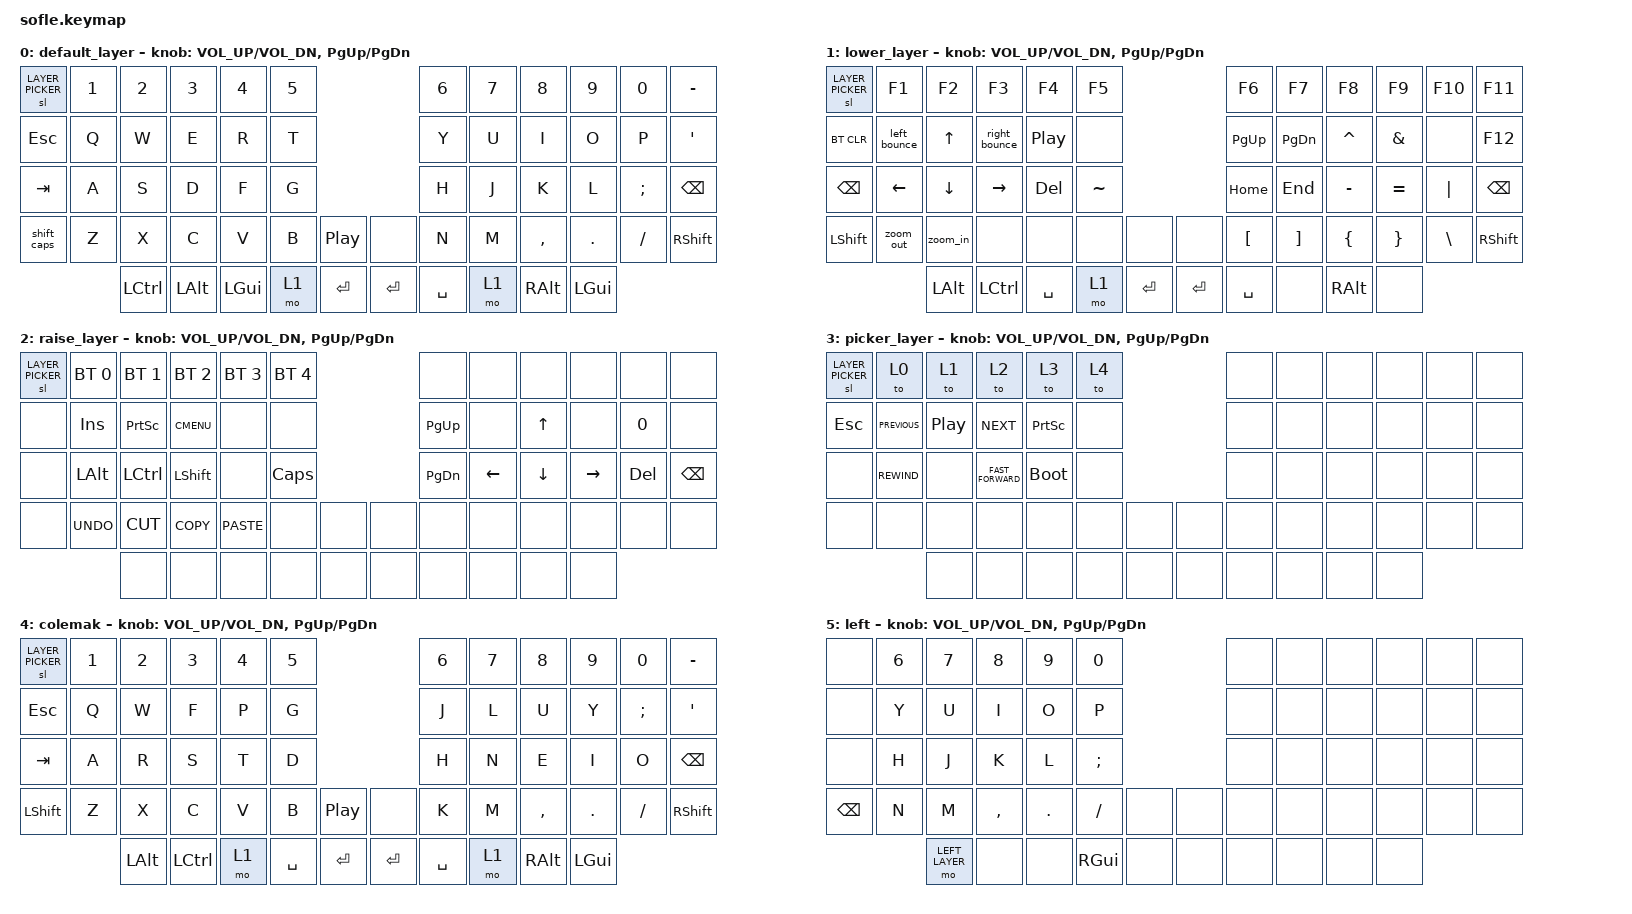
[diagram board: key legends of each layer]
/*
 * Copyright (c) 2020 The ZMK Contributors
 *
 * SPDX-License-Identifier: MIT
 */

#include <behaviors.dtsi>
#include <dt-bindings/zmk/keys.h>
#include <dt-bindings/zmk/bt.h>
#include <dt-bindings/zmk/rgb.h>

#define DEFAULT 0
#define LAYER_PICKER 3
#define LEFT_LAYER 5

/ {
    macros {
            left_bounce: left_bounce {
                label = "ZM_left_bounce";
                wait-ms = <0>;
                #binding-cells = <0>;
                compatible = "zmk,behavior-macro";
                bindings
                    = <&macro_press &kp LALT &kp LEFT>
                    , <&macro_pause_for_release>
                    , <&macro_release &kp LEFT &kp LALT>
                    ;
            };
            right_bounce: right_bounce {
                label = "ZM_right_bounce";
                wait-ms = <0>;
                #binding-cells = <0>;
                compatible = "zmk,behavior-macro";
                bindings
                    = <&macro_press &kp LALT &kp RIGHT>
                    , <&macro_pause_for_release>
                    , <&macro_release &kp RIGHT &kp LALT>
                    ;
            };
            zoom_out: zoom_out {
                label = "ZM_zoom_out";
                wait-ms = <0>;
                #binding-cells = <0>;
                compatible = "zmk,behavior-macro";
                bindings
                    = <&macro_press &kp LGUI>
                    , <&macro_tap &kp MINUS>
                    , <&macro_release &kp LGUI>
                    ;
            };
            zoom_in: zoom_in {
                label = "ZM_zoom_in";
                wait-ms = <0>;
                #binding-cells = <0>;
                compatible = "zmk,behavior-macro";
                bindings
                    = <&macro_press &kp LGUI>
                    , <&macro_tap &kp EQUAL>
                    , <&macro_release &kp LGUI>
                    ;
            };
    };
    behaviors {
        shift_caps: tap_dance_0 {
            compatible = "zmk,behavior-tap-dance";
            label = "TD_shift_caps";
            #binding-cells = <0>;
            tapping-term-ms = <400>;
            bindings = <&kp LSHIFT>, <&kp CAPSLOCK>;
        };
    };
};




/ {
    keymap {
        compatible = "zmk,keymap";

        default_layer { // Default (0)
// ------------------------------------------------------------------------------------------------------------
// |  `    |  1  |  2  |  3   |  4   |  5   |                   |  6   |  7    |  8    |  9   |   0   |       |
// |  ESC  |  Q  |  W  |  E   |  R   |  T   |                   |  Y   |  U    |  I    |  O   |   P   | BKSPC |
// |  TAB  |  A  |  S  |  D   |  F   |  G   |                   |  H   |  J    |  K    |  L   |   ;   |   '   |
// | SHIFT |  Z  |  X  |  C   |  V   |  B   |  MUTE  |  |       |  N   |  M    |  ,    |  .   |   /   | SHIFT |
//               | GUI | ALT  | CTRL | LOWER|  ENTER |  | SPACE | RAISE| CTRL  | ALT   | GUI  |
            bindings = <
&sl LAYER_PICKER	&kp N1			&kp N2		&kp N3		&kp N4		&kp N5											&kp N6		&kp N7		&kp N8		&kp N9		&kp N0		&kp MINUS
&kp ESC				&kp Q			&kp W		&kp E		&kp R		&kp T											&kp Y		&kp U		&kp I		&kp O		&kp P		&kp SQT
&kp TAB				&kp A			&kp S		&kp D		&kp F		&kp G											&kp H		&kp J		&kp K		&kp L		&kp SEMI	&kp BSPC
&shift_caps			&kp Z			&kp X		&kp C		&kp V		&kp B			&kp C_PLAY_PAUSE	&none		&kp N		&kp M		&kp COMMA	&kp DOT		&kp FSLH	&kp RSHFT
									&kp	LCTRL	&kp LALT	&kp LGUI	&mo 1   		&kp RET				&kp RET		&kp SPACE	&mo 1		&kp RALT	&kp LGUI
            >;

            sensor-bindings = <&inc_dec_kp C_VOL_UP C_VOL_DN &inc_dec_kp PG_UP PG_DN>;
        };

        lower_layer { // 1
// ------------------------------------------------------------------------------------------------------------
// TODO: Some binds are waiting for shifted keycode support.
// |       |  F1 |  F2 |  F3  |  F4  |  F5  |                   |  F6  |  F7   |  F8   |  F9  |  F10  |  F11  |
// | `     |   1 |   2 |   3  |   4  |   5  |                   |   6  |   7   |   8   |   9  |    0  |  F12  |
// |       |  !  |  @  |  #   |  $   |  %   |                   |  ^   |  &    |  *    |  (   |   )   |   |   |
// |       |  =  |  -  |  +   |  {   |  }   |        |  |       |  [   |  ]    |  ;    |  :   |   \   |       |
//               |     |      |      |      |        |  |       |      |       |       |      |
            bindings = <
&sl LAYER_PICKER	&kp F1			&kp F2		&kp F3			&kp F4				&kp F5												&kp F6		&kp F7		&kp F8		&kp F9		&kp F10		&kp F11
&bt BT_CLR			&left_bounce	&kp UP		&right_bounce	&kp C_PLAY_PAUSE	&none												&kp PG_UP	&kp PG_DN	&kp CARET	&kp AMPS	&none		&kp F12
&kp BSPC			&kp LEFT		&kp DOWN	&kp RIGHT		&kp DEL				&kp	TILDE											&kp HOME	&kp END		&kp MINUS	&kp EQUAL	&kp	PIPE	&kp BSPC
&kp LSHIFT			&zoom_out		&zoom_in	&none			&none				&none		&none			&none		&kp LBKT	&kp RBKT	&kp LBRC	&kp RBRC	&kp BSLH	&kp RSHFT
									&kp	LALT	&kp LCTRL		&kp SPACE			&mo 1		&kp RET			&kp RET		&kp SPACE	&none		&kp RALT	&none
            >;

            sensor-bindings = <&inc_dec_kp C_VOL_UP C_VOL_DN &inc_dec_kp PG_UP PG_DN>;
        };

        raise_layer { // 2
// ------------------------------------------------------------------------------------------------------------
// |BTCLR| BT1  | BT2  |  BT3  |  BT4  |  BT5 |                |      |      |       |      |       |       |
// |     | INS  | PSCR | GUI   |       |      |                | PGUP |      |   ^   |      |       |       |
// |     | ALT  | CTRL | SHIFT |       | CAPS |                | PGDN |   <- |   v   |  ->  |  DEL  | BKSPC |
// |     | UNDO | CUT  | COPY  | PASTE |      |      |  |      |      |      |       |      |       |       |
//              |      |       |       |      |      |  |      |      |      |       |      |
            bindings = <
&sl LAYER_PICKER &bt BT_SEL 0 &bt BT_SEL 1 &bt BT_SEL 2 &bt BT_SEL 3 &bt BT_SEL 4             &none    &none    &none   &none    &none  &none
&none     &kp INS      &kp PSCRN    &kp K_CMENU  &none       &none                   &kp PG_UP &none    &kp UP   &none    &kp N0  &none
&none     &kp LALT     &kp LCTRL    &kp LSHFT    &none       &kp CLCK                 &kp PG_DN &kp LEFT  &kp DOWN &kp RIGHT &kp DEL &kp BSPC
&none     &kp K_UNDO   &kp K_CUT    &kp K_COPY   &kp K_PASTE  &none  &none   &none  &none    &none    &none   &none    &none  &none
                        &none       &none       &none       &none  &none   &none  &none    &none    &none   &none
            >;

            sensor-bindings = <&inc_dec_kp C_VOL_UP C_VOL_DN &inc_dec_kp PG_UP PG_DN>;
        };
		
		picker_layer { // LAYER_PICKER (3)
// ------------------------------------------------------------------------------------------------------------
// |BTCLR| BT1  | BT2  |  BT3  |  BT4  |  BT5 |                |      |      |       |      |       |       |
// |     | INS  | PSCR | GUI   |       |      |                | PGUP |      |   ^   |      |       |       |
// |     | ALT  | CTRL | SHIFT |       | CAPS |                | PGDN |   <- |   v   |  ->  |  DEL  | BKSPC |
// |     | UNDO | CUT  | COPY  | PASTE |      |      |  |      |      |      |       |      |       |       |
//              |      |       |       |      |      |  |      |      |      |       |      |
            bindings = <
&sl LAYER_PICKER	&to 0				&to 1				&to 2				&to 3				&to 4									&none	&none	&none	&none	&none	&none
&kp ESC				&kp C_PREVIOUS		&kp C_PLAY_PAUSE	&kp C_NEXT			&kp PRINTSCREEN		&none									&none	&none	&none	&none	&none	&none
&none				&kp C_REWIND		&none				&kp C_FAST_FORWARD	&bootloader			&none									&none	&none	&none	&none	&none	&none
&none				&none				&none    			&none				&none				&none			&none			&none	&none	&none	&none	&none	&none	&none
										&none       		&none				&none				&none  	&none	&none	&none	&none	&none	&none
            >;

            sensor-bindings = <&inc_dec_kp C_VOL_UP C_VOL_DN &inc_dec_kp PG_UP PG_DN>;
        };
		
		
		colemak { // COLEMAK (4)
// ------------------------------------------------------------------------------------------------------------
// |  `    |  1  |  2  |  3   |  4   |  5   |                   |  6   |  7    |  8    |  9   |   0   |       |
// |  ESC  |  Q  |  W  |  E   |  R   |  T   |                   |  Y   |  U    |  I    |  O   |   P   | BKSPC |
// |  TAB  |  A  |  S  |  D   |  F   |  G   |                   |  H   |  J    |  K    |  L   |   ;   |   '   |
// | SHIFT |  Z  |  X  |  C   |  V   |  B   |  MUTE  |  |       |  N   |  M    |  ,    |  .   |   /   | SHIFT |
//               | GUI | ALT  | CTRL | LOWER|  ENTER |  | SPACE | RAISE| CTRL  | ALT   | GUI  |
            bindings = <
&sl LAYER_PICKER	&kp N1			&kp N2		&kp N3		&kp N4		&kp N5											&kp N6		&kp N7		&kp N8		&kp N9		&kp N0		&kp MINUS
&kp ESC				&kp Q			&kp W		&kp F		&kp P		&kp G											&kp J		&kp L		&kp U		&kp Y		&kp SEMI	&kp SQT
&kp TAB				&kp A			&kp R		&kp S		&kp T		&kp D											&kp H		&kp N		&kp E		&kp I		&kp O		&kp BSPC
&kp LSHIFT			&kp Z			&kp X		&kp C		&kp V		&kp B			&kp C_PLAY_PAUSE	&none		&kp K		&kp M		&kp COMMA	&kp DOT		&kp FSLH	&kp RSHFT
									&kp	LALT	&kp LCTRL	&mo 1		&kp SPACE		&kp RET				&kp RET		&kp SPACE	&mo 1		&kp RALT	&kp LGUI
            >;

            sensor-bindings = <&inc_dec_kp C_VOL_UP C_VOL_DN &inc_dec_kp PG_UP PG_DN>;
        };
		
		left {	// LEFT (5)
// ------------------------------------------------------------------------------------------------------------
// |BTCLR| BT1  | BT2  |  BT3  |  BT4  |  BT5 |                |      |      |       |      |       |       |
// |     | INS  | PSCR | GUI   |       |      |                | PGUP |      |   ^   |      |       |       |
// |     | ALT  | CTRL | SHIFT |       | CAPS |                | PGDN |   <- |   v   |  ->  |  DEL  | BKSPC |
// |     | UNDO | CUT  | COPY  | PASTE |      |      |  |      |      |      |       |      |       |       |
//              |      |       |       |      |      |  |      |      |      |       |      |
            bindings = <

&none		&kp N6	 &kp N7			&kp N8		&kp N9		&kp N0								&none	&none	&none	&none	&none	&none
&none		&kp Y	&kp U			&kp I		&kp O		&kp P								&none	&none	&none	&none	&none	&none
&none		&kp H	&kp J			&kp K		&kp L		&kp SEMI							&none	&none	&none	&none	&none	&none
&kp BSPC	&kp N	&kp M			&kp COMMA	&kp DOT		&kp FSLH	&none			&none	&none	&none	&none	&none	&none	&none
					&mo LEFT_LAYER	&none		&none		&kp RGUI  	&none			&none	&none	&none	&none	&none
            >;

            sensor-bindings = <&inc_dec_kp C_VOL_UP C_VOL_DN &inc_dec_kp PG_UP PG_DN>;
        };
    };
};


/* / {
    keymap {
        compatible = "zmk,keymap";

        default_layer { // Default (0)
// ------------------------------------------------------------------------------------------------------------
// |  `    |  1  |  2  |  3   |  4   |  5   |                   |  6   |  7    |  8    |  9   |   0   |       |
// |  ESC  |  Q  |  W  |  E   |  R   |  T   |                   |  Y   |  U    |  I    |  O   |   P   | BKSPC |
// |  TAB  |  A  |  S  |  D   |  F   |  G   |                   |  H   |  J    |  K    |  L   |   ;   |   '   |
// | SHIFT |  Z  |  X  |  C   |  V   |  B   |  MUTE  |  |       |  N   |  M    |  ,    |  .   |   /   | SHIFT |
//               | GUI | ALT  | CTRL | LOWER|  ENTER |  | SPACE | RAISE| CTRL  | ALT   | GUI  |
            bindings = <
&sl LAYER_PICKER	&kp N1			&kp N2		&kp N3		&kp N4		&kp N5											&kp N6		&kp N7		&kp N8		&kp N9		&kp N0		&kp MINUS
&kp ESC				&kp Q			&kp W		&kp E		&kp R		&kp T											&kp Y		&kp U		&kp I		&kp O		&kp P		&kp SQT
&kp TAB				&kp A			&kp S		&kp D		&kp F		&kp G											&kp H		&kp J		&kp K		&kp L		&kp SEMI	&kp BSPC
&kp LSHIFT			&kp Z			&kp X		&kp C		&kp V		&kp B			&kp C_PLAY_PAUSE	&none		&kp N		&kp M		&kp COMMA	&kp DOT		&kp FSLH	&kp RSHFT
									&kp	LALT	&kp LCTRL	&LGUI		&kp SPACE		&kp RET				&kp RET		&kp SPACE	&mo 1		&kp RALT	&kp LGUI
            >;

            sensor-bindings = <&inc_dec_kp C_VOL_UP C_VOL_DN &inc_dec_kp PG_UP PG_DN>;
        };
 */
